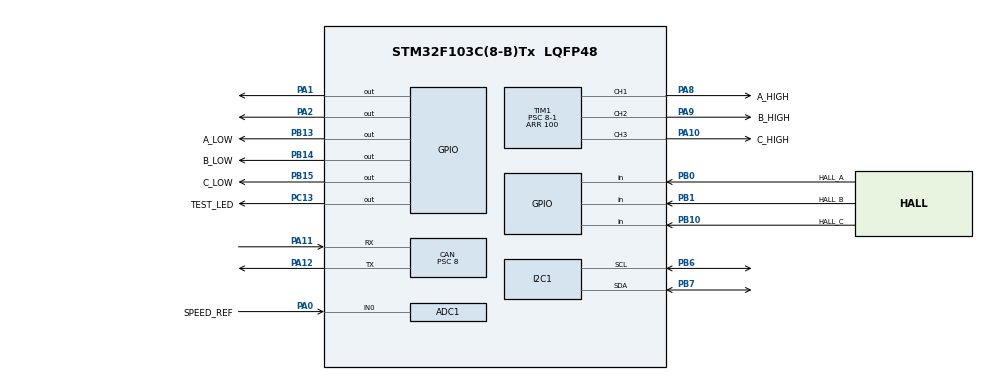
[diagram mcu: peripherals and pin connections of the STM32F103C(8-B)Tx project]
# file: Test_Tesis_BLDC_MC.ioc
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ADC1.Channel-0\#ChannelRegularConversion=ADC_CHANNEL_0
ADC1.NbrOfConversionFlag=1
ADC1.Rank-0\#ChannelRegularConversion=1
ADC1.SamplingTime-0\#ChannelRegularConversion=ADC_SAMPLETIME_1CYCLE_5
ADC1.master=1
CAN.BS2=CAN_BS2_2TQ
CAN.CalculateBaudRate=250000
CAN.CalculateTimeBit=4000
CAN.CalculateTimeQuantum=1000.0
CAN.Prescaler=8
Mcu.Family=STM32F1
Mcu.Name=STM32F103C(8-B)Tx
Mcu.Package=LQFP48
NVIC.CAN1_RX1_IRQn=true\:0\:0\:false\:false\:true\:true\:true\:true
NVIC.PriorityGroup=NVIC_PRIORITYGROUP_4
NVIC.TIM2_IRQn=true\:0\:0\:false\:false\:true\:true\:true\:true
NVIC.TIM4_IRQn=true\:0\:0\:false\:false\:true\:true\:true\:true
NVIC.USB_LP_CAN1_RX0_IRQn=true\:0\:0\:false\:false\:true\:true\:true\:true
PA0-WKUP.GPIO_Label=SPEED_REF
PA0-WKUP.Signal=ADCx_IN0
PA1.Signal=GPIO_Output
PA10.GPIO_Label=C_HIGH
PA10.Signal=S_TIM1_CH3
PA11.Mode=CAN_Activate
PA11.Signal=CAN_RX
PA12.Mode=CAN_Activate
PA12.Signal=CAN_TX
PA13.Mode=Serial_Wire
PA13.Signal=SYS_JTMS-SWDIO
PA14.Mode=Serial_Wire
PA14.Signal=SYS_JTCK-SWCLK
PA2.Signal=GPIO_Output
PA8.GPIO_Label=A_HIGH
PA8.GPIO_Speed=GPIO_SPEED_FREQ_HIGH
PA8.Signal=S_TIM1_CH1
PA9.GPIO_Label=B_HIGH
PA9.GPIO_Speed=GPIO_SPEED_FREQ_HIGH
PA9.Signal=S_TIM1_CH2
PB0.GPIO_Label=HALL_A
PB0.GPIO_PuPd=GPIO_PULLUP
PB0.Signal=GPIO_Input
PB1.GPIO_Label=HALL_B
PB1.GPIO_PuPd=GPIO_PULLUP
PB1.Signal=GPIO_Input
PB10.GPIO_Label=HALL_C
PB10.GPIO_PuPd=GPIO_PULLUP
PB10.Signal=GPIO_Input
PB13.GPIO_Label=A_LOW
PB13.GPIO_PuPd=GPIO_PULLDOWN
PB13.GPIO_Speed=GPIO_SPEED_FREQ_HIGH
PB13.Signal=GPIO_Output
PB14.GPIO_Label=B_LOW
PB14.GPIO_PuPd=GPIO_PULLDOWN
PB14.GPIO_Speed=GPIO_SPEED_FREQ_HIGH
PB14.Signal=GPIO_Output
PB15.GPIO_Label=C_LOW
PB15.GPIO_PuPd=GPIO_PULLDOWN
PB15.GPIO_Speed=GPIO_SPEED_FREQ_HIGH
PB15.Signal=GPIO_Output
PB6.Mode=I2C
PB6.Signal=I2C1_SCL
PB7.Mode=I2C
PB7.Signal=I2C1_SDA
PC13-TAMPER-RTC.GPIO_Label=TEST_LED
PC13-TAMPER-RTC.GPIO_PuPd=GPIO_PULLUP
PC13-TAMPER-RTC.Signal=GPIO_Output
ProjectManager.HeapSize=0x200
ProjectManager.StackSize=0x400
ProjectManager.TargetToolchain=STM32CubeIDE
RCC.APB1Freq_Value=8000000
RCC.APB2Freq_Value=8000000
SH.ADCx_IN0.0=ADC1_IN0,IN0
SH.S_TIM1_CH1.0=TIM1_CH1,PWM Generation1 CH1
SH.S_TIM1_CH2.0=TIM1_CH2,PWM Generation2 CH2
SH.S_TIM1_CH3.0=TIM1_CH3,PWM Generation3 CH3
TIM1.Channel-PWM\ Generation1\ CH1=TIM_CHANNEL_1
TIM1.Channel-PWM\ Generation2\ CH2=TIM_CHANNEL_2
TIM1.Channel-PWM\ Generation3\ CH3=TIM_CHANNEL_3
TIM1.Period=100
TIM1.Prescaler=8-1
TIM2.AutoReloadPreload=TIM_AUTORELOAD_PRELOAD_DISABLE
TIM2.Period=400-1
TIM2.Prescaler=8-1
TIM3.Prescaler=8-1
TIM4.Period=100-1
TIM4.Prescaler=8000-1
VP_TIM1_VS_ClockSourceINT.Mode=Internal
VP_TIM2_VS_ClockSourceINT.Mode=Internal
VP_TIM3_VS_ClockSourceINT.Mode=Internal
VP_TIM4_VS_ClockSourceINT.Mode=Internal
board=custom

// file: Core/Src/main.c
/* USER CODE BEGIN Header */
/**
  ******************************************************************************
  * @file           : main.c
  * @brief          : Main program body
  ******************************************************************************
  * @attention
  *
  * Copyright (c) 2023 STMicroelectronics.
  * All rights reserved.
  *
  * This software is licensed under terms that can be found in the LICENSE file
  * in the root directory of this software component.
  * If no LICENSE file comes with this software, it is provided AS-IS.
  *
  ******************************************************************************
  */
/* USER CODE END Header */
#include "main.h"

/* USER CODE BEGIN Includes */
#include "PID.h"
#include "STANLEY.h"
#include "IMU.h"
#include "stepper.h"

#include <stdlib.h>

/* USER CODE END Includes */

/* USER CODE BEGIN PD */

// Definiciones principales
#define POLE_PAIRS 23u
#define VOLTAJE 30u
#define STEP_ADC_RPM 10u
#define ESTIMATION_RATE 5u // solo puede ser divisor de 10 {1, 2, 5, 10}.

#define STEPS2RPM 60*ESTIMATION_RATE/POLE_PAIRS/6 // 60 segundos, 2 Hz, 23 pp, 6 pasos

#define TEST_STANLEY 1u

// Definiciones adicionales
#define COMMUTATION_DELAY_US 350u	// microsegundos para el delay

/* Controller parameters */
// Para ESTIMATION_RATE de 2u: kp = 0.2; ki = 0.8; kd=0.0 (delay 700u)
//						   5u: kp = 0.02; ki = 0.5; kd=0.0 (delay 700u)
#define PID_KP  0.03f //
#define PID_KI  0.35f // 0.15 0.01
#define PID_KD  0.0f //0.0

#define PID_TAU 0.02f

#define PID_LIM_MIN  0.0f
#define PID_LIM_MAX  100.0f

#define STANLEY_K 	3.5f
#define STANLEY_KS 	0.2f
#define SAMPLE_TIME_S 0.1f

// Definiciones adicionales
#define PI 3.141592653589f

/* USER CODE END PD */

ADC_HandleTypeDef hadc1;

CAN_HandleTypeDef hcan;

I2C_HandleTypeDef hi2c1;

TIM_HandleTypeDef htim1;
TIM_HandleTypeDef htim2;
TIM_HandleTypeDef htim3;
TIM_HandleTypeDef htim4;

void SystemClock_Config(void);
static void MX_GPIO_Init(void);
static void MX_ADC1_Init(void);
static void MX_TIM1_Init(void);
static void MX_TIM2_Init(void);
static void MX_TIM3_Init(void);
static void MX_TIM4_Init(void);
static void MX_CAN_Init(void);
static void MX_I2C1_Init(void);

/* USER CODE BEGIN 0 */
// HEADERS DE FUNCIONES

// funciones principales
void get_adc(void);
void read_hall(void);
void bldc_move(void);
void bldc_move_back(void);

//funciones adicionales
void delay_us (uint16_t us);

// VARIABLES
uint16_t raw_adc = 0;
uint16_t rate_adc = 0;

uint8_t hall_a = 0;
uint8_t hall_b = 0;
uint8_t hall_c = 0;

uint8_t direction = 0;		// 0 for forward, 1 for backward
uint8_t bldc_prev_step = 0;
uint8_t bldc_step = 0;
uint16_t steps = 0;

float desired_speed_rpm = 0;
float current_speed_rpm = 0;
float error = 0; //difference between desired and measured speed
float integral = 0;
uint8_t duty_cycle = 0;

// imu
uint8_t euler_readings[IMU_NUMBER_OF_BYTES];
int16_t euler_data[3];
float yaw = 0;

// Stanley
float posX = 0.0;
float posY = 0.0;
float ang_direc = 0.0;
float steer = 0.0;

float stepsPAP = 0.0;

// timer flags
uint8_t timer2_flag = 0;
uint8_t timer4_flag = 0;
uint8_t timer4_counts = 0;
uint8_t estimation_flag = 0;

//PID
PIDController pid = { PID_KP, PID_KI, PID_KD, PID_TAU,
						PID_LIM_MIN, PID_LIM_MAX, SAMPLE_TIME_S };

StanleyController stanley = {STANLEY_K, STANLEY_KS};

/* USER CODE END 0 */

int main(void)
{

  /* MCU Configuration--------------------------------------------------------*/

  /* Reset of all peripherals, Initializes the Flash interface and the Systick. */
  HAL_Init();

  /* Configure the system clock */
  SystemClock_Config();

  /* Initialize all configured peripherals */
  MX_GPIO_Init();
  MX_ADC1_Init();
  MX_TIM1_Init();
  MX_TIM2_Init();
  MX_TIM3_Init();
  MX_TIM4_Init();
  MX_CAN_Init();
  MX_I2C1_Init();
  /* USER CODE BEGIN 2 */

  // Inicializamos I2C imu
  BNO055_Init_I2C(&hi2c1);

  // Inicializamos lso controladores
  PIDController_Init(&pid);
  StanleyController_Init(&stanley);

  // Inicializamos los timer timers
  HAL_TIM_Base_Start(&htim1);	// Timer de PWMs (10kH)
  HAL_TIM_Base_Start_IT(&htim2);	// Timer principal (2.5 kHz)
  HAL_TIM_Base_Start(&htim3);		// Timer para delay de microsegundos
  HAL_TIM_Base_Start_IT(&htim4);	// Timer para el control (10Hz)

  // Inicializamos los 3 canales de PWM
  HAL_TIM_PWM_Start(&htim1, TIM_CHANNEL_1);
  HAL_TIM_PWM_Start(&htim1, TIM_CHANNEL_2);
  HAL_TIM_PWM_Start(&htim1, TIM_CHANNEL_3);

  // Iniciamos con 0 de duty los 3 PWM HIGH de loS MOSFETS
  __HAL_TIM_SET_COMPARE(&htim1, TIM_CHANNEL_1, 0);
  __HAL_TIM_SET_COMPARE(&htim1, TIM_CHANNEL_2, 0);
  __HAL_TIM_SET_COMPARE(&htim1, TIM_CHANNEL_3, 0);

  // Inicializamos en low las salidas LOW de los MOSFETS
  HAL_GPIO_WritePin(A_LOW_GPIO_Port , A_LOW_Pin,  GPIO_PIN_RESET);
  HAL_GPIO_WritePin(B_LOW_GPIO_Port , B_LOW_Pin,  GPIO_PIN_RESET);
  HAL_GPIO_WritePin(C_LOW_GPIO_Port , C_LOW_Pin,  GPIO_PIN_RESET);

  // Incializamos el led de testeo apagado
  HAL_GPIO_WritePin(GPIOC , GPIO_PIN_13,  GPIO_PIN_SET);

  // Leemos los hall por primera vez
  read_hall();

  /* USER CODE END 2 */

  /* Infinite loop */
  /* USER CODE BEGIN WHILE */
  while (1)
  {
	  if (timer2_flag == 1){
		  get_adc();
		  read_hall();

		  if (direction == 0) bldc_move();
		  else bldc_move_back();

		  timer2_flag = 0;
	  }

	  if (timer4_flag == 1){

		  // Acá se realiza el control PID y Stanley
		  // CONTROL PID
		  uint8_t u = 0;

		  PIDController_Update(&pid, desired_speed_rpm, current_speed_rpm);

		  // Protection
		  if(desired_speed_rpm<=20){
			  PIDController_Reset(&pid);
		  }

		  integral = pid.integrator;
		  u = pid.out;
		  duty_cycle = u;

		  //testeo
		  //HAL_GPIO_TogglePin(GPIOC , TEST_LED_Pin);

		  // CONTROL STANLEY
		  if(TEST_STANLEY==1){
			  // Leer yaw
			  GetEulerData(&hi2c1, (uint8_t*)euler_readings);
			  euler_data[0] = (((int16_t)((uint8_t *)(euler_readings))[1] << 8) | ((uint8_t *)(euler_readings))[0]);
			  yaw = ((float)(euler_data[0]))*PI/180.0/16.0 ; // rad

			  float *arr_currPos = malloc(sizeof(float) * 2);

			  // como se calcula el ang_direc? debería venir del PAP, es necesario?, ahora está seteado a 0
			  arr_currPos = calcular_posActual(posX, posY, current_speed_rpm, yaw, ang_direc, SAMPLE_TIME_S);

			  // Recibir por CAN
			  float arr_path[4]={0.0, 0.0, 0.0, 0.0}; // x0, y0, x1, y1. Se deberia recibir por CAN
			  // Recibir por CAN

			  steer = StanleyController_Update(&stanley, yaw, current_speed_rpm, arr_currPos, arr_path);

			  // Falta conversion de steer a stepsPAP

			  // actuar el pap
			  step(&htim3, stepsPAP, 0, 100); // 1600 steps = 1 rev con 100 us de Delay
		  }

		  timer4_flag = 0;
	  }

	  if (estimation_flag){
		  // HAL_GPIO_TogglePin(GPIOC , GPIO_PIN_13);
		  current_speed_rpm = steps*STEPS2RPM;
		  estimation_flag = 0;
		  steps = 0;
	  }
    /* USER CODE END WHILE */

  }
}

void SystemClock_Config(void)
{
  RCC_OscInitTypeDef RCC_OscInitStruct = {0};
  RCC_ClkInitTypeDef RCC_ClkInitStruct = {0};
  RCC_PeriphCLKInitTypeDef PeriphClkInit = {0};

  /** Initializes the RCC Oscillators according to the specified parameters
  * in the RCC_OscInitTypeDef structure.
  */
  RCC_OscInitStruct.OscillatorType = RCC_OSCILLATORTYPE_HSI;
  RCC_OscInitStruct.HSIState = RCC_HSI_ON;
  RCC_OscInitStruct.HSICalibrationValue = RCC_HSICALIBRATION_DEFAULT;
  RCC_OscInitStruct.PLL.PLLState = RCC_PLL_NONE;
  if (HAL_RCC_OscConfig(&RCC_OscInitStruct) != HAL_OK)
  {
    Error_Handler();
  }

  /** Initializes the CPU, AHB and APB buses clocks
  */
  RCC_ClkInitStruct.ClockType = RCC_CLOCKTYPE_HCLK|RCC_CLOCKTYPE_SYSCLK
                              |RCC_CLOCKTYPE_PCLK1|RCC_CLOCKTYPE_PCLK2;
  RCC_ClkInitStruct.SYSCLKSource = RCC_SYSCLKSOURCE_HSI;
  RCC_ClkInitStruct.AHBCLKDivider = RCC_SYSCLK_DIV1;
  RCC_ClkInitStruct.APB1CLKDivider = RCC_HCLK_DIV1;
  RCC_ClkInitStruct.APB2CLKDivider = RCC_HCLK_DIV1;

  if (HAL_RCC_ClockConfig(&RCC_ClkInitStruct, FLASH_LATENCY_0) != HAL_OK)
  {
    Error_Handler();
  }
  PeriphClkInit.PeriphClockSelection = RCC_PERIPHCLK_ADC;
  PeriphClkInit.AdcClockSelection = RCC_ADCPCLK2_DIV2;
  if (HAL_RCCEx_PeriphCLKConfig(&PeriphClkInit) != HAL_OK)
  {
    Error_Handler();
  }
}

static void MX_ADC1_Init(void)
{

  ADC_ChannelConfTypeDef sConfig = {0};

  /** Common config
  */
  hadc1.Instance = ADC1;
  hadc1.Init.ScanConvMode = ADC_SCAN_DISABLE;
  hadc1.Init.ContinuousConvMode = DISABLE;
  hadc1.Init.DiscontinuousConvMode = DISABLE;
  hadc1.Init.ExternalTrigConv = ADC_SOFTWARE_START;
  hadc1.Init.DataAlign = ADC_DATAALIGN_RIGHT;
  hadc1.Init.NbrOfConversion = 1;
  if (HAL_ADC_Init(&hadc1) != HAL_OK)
  {
    Error_Handler();
  }

  /** Configure Regular Channel
  */
  sConfig.Channel = ADC_CHANNEL_0;
  sConfig.Rank = ADC_REGULAR_RANK_1;
  sConfig.SamplingTime = ADC_SAMPLETIME_1CYCLE_5;
  if (HAL_ADC_ConfigChannel(&hadc1, &sConfig) != HAL_OK)
  {
    Error_Handler();
  }

}

static void MX_CAN_Init(void)
{

  hcan.Instance = CAN1;
  hcan.Init.Prescaler = 8;
  hcan.Init.Mode = CAN_MODE_NORMAL;
  hcan.Init.SyncJumpWidth = CAN_SJW_1TQ;
  hcan.Init.TimeSeg1 = CAN_BS1_1TQ;
  hcan.Init.TimeSeg2 = CAN_BS2_2TQ;
  hcan.Init.TimeTriggeredMode = DISABLE;
  hcan.Init.AutoBusOff = DISABLE;
  hcan.Init.AutoWakeUp = DISABLE;
  hcan.Init.AutoRetransmission = DISABLE;
  hcan.Init.ReceiveFifoLocked = DISABLE;
  hcan.Init.TransmitFifoPriority = DISABLE;
  if (HAL_CAN_Init(&hcan) != HAL_OK)
  {
    Error_Handler();
  }

}

static void MX_I2C1_Init(void)
{

  hi2c1.Instance = I2C1;
  hi2c1.Init.ClockSpeed = 100000;
  hi2c1.Init.DutyCycle = I2C_DUTYCYCLE_2;
  hi2c1.Init.OwnAddress1 = 0;
  hi2c1.Init.AddressingMode = I2C_ADDRESSINGMODE_7BIT;
  hi2c1.Init.DualAddressMode = I2C_DUALADDRESS_DISABLE;
  hi2c1.Init.OwnAddress2 = 0;
  hi2c1.Init.GeneralCallMode = I2C_GENERALCALL_DISABLE;
  hi2c1.Init.NoStretchMode = I2C_NOSTRETCH_DISABLE;
  if (HAL_I2C_Init(&hi2c1) != HAL_OK)
  {
    Error_Handler();
  }

}

static void MX_TIM1_Init(void)
{

  TIM_ClockConfigTypeDef sClockSourceConfig = {0};
  TIM_MasterConfigTypeDef sMasterConfig = {0};
  TIM_OC_InitTypeDef sConfigOC = {0};
  TIM_BreakDeadTimeConfigTypeDef sBreakDeadTimeConfig = {0};

  htim1.Instance = TIM1;
  htim1.Init.Prescaler = 8-1;
  htim1.Init.CounterMode = TIM_COUNTERMODE_UP;
  htim1.Init.Period = 100;
  htim1.Init.ClockDivision = TIM_CLOCKDIVISION_DIV1;
  htim1.Init.RepetitionCounter = 0;
  htim1.Init.AutoReloadPreload = TIM_AUTORELOAD_PRELOAD_DISABLE;
  if (HAL_TIM_Base_Init(&htim1) != HAL_OK)
  {
    Error_Handler();
  }
  sClockSourceConfig.ClockSource = TIM_CLOCKSOURCE_INTERNAL;
  if (HAL_TIM_ConfigClockSource(&htim1, &sClockSourceConfig) != HAL_OK)
  {
    Error_Handler();
  }
  if (HAL_TIM_PWM_Init(&htim1) != HAL_OK)
  {
    Error_Handler();
  }
  sMasterConfig.MasterOutputTrigger = TIM_TRGO_RESET;
  sMasterConfig.MasterSlaveMode = TIM_MASTERSLAVEMODE_DISABLE;
  if (HAL_TIMEx_MasterConfigSynchronization(&htim1, &sMasterConfig) != HAL_OK)
  {
    Error_Handler();
  }
  sConfigOC.OCMode = TIM_OCMODE_PWM1;
  sConfigOC.Pulse = 0;
  sConfigOC.OCPolarity = TIM_OCPOLARITY_HIGH;
  sConfigOC.OCNPolarity = TIM_OCNPOLARITY_HIGH;
  sConfigOC.OCFastMode = TIM_OCFAST_DISABLE;
  sConfigOC.OCIdleState = TIM_OCIDLESTATE_RESET;
  sConfigOC.OCNIdleState = TIM_OCNIDLESTATE_RESET;
  if (HAL_TIM_PWM_ConfigChannel(&htim1, &sConfigOC, TIM_CHANNEL_1) != HAL_OK)
  {
    Error_Handler();
  }
  if (HAL_TIM_PWM_ConfigChannel(&htim1, &sConfigOC, TIM_CHANNEL_2) != HAL_OK)
  {
    Error_Handler();
  }
  if (HAL_TIM_PWM_ConfigChannel(&htim1, &sConfigOC, TIM_CHANNEL_3) != HAL_OK)
  {
    Error_Handler();
  }
  sBreakDeadTimeConfig.OffStateRunMode = TIM_OSSR_DISABLE;
  sBreakDeadTimeConfig.OffStateIDLEMode = TIM_OSSI_DISABLE;
  sBreakDeadTimeConfig.LockLevel = TIM_LOCKLEVEL_OFF;
  sBreakDeadTimeConfig.DeadTime = 0;
  sBreakDeadTimeConfig.BreakState = TIM_BREAK_DISABLE;
  sBreakDeadTimeConfig.BreakPolarity = TIM_BREAKPOLARITY_HIGH;
  sBreakDeadTimeConfig.AutomaticOutput = TIM_AUTOMATICOUTPUT_DISABLE;
  if (HAL_TIMEx_ConfigBreakDeadTime(&htim1, &sBreakDeadTimeConfig) != HAL_OK)
  {
    Error_Handler();
  }
  HAL_TIM_MspPostInit(&htim1);

}

static void MX_TIM2_Init(void)
{

  TIM_ClockConfigTypeDef sClockSourceConfig = {0};
  TIM_MasterConfigTypeDef sMasterConfig = {0};

  htim2.Instance = TIM2;
  htim2.Init.Prescaler = 8-1;
  htim2.Init.CounterMode = TIM_COUNTERMODE_UP;
  htim2.Init.Period = 400-1;
  htim2.Init.ClockDivision = TIM_CLOCKDIVISION_DIV1;
  htim2.Init.AutoReloadPreload = TIM_AUTORELOAD_PRELOAD_DISABLE;
  if (HAL_TIM_Base_Init(&htim2) != HAL_OK)
  {
    Error_Handler();
  }
  sClockSourceConfig.ClockSource = TIM_CLOCKSOURCE_INTERNAL;
  if (HAL_TIM_ConfigClockSource(&htim2, &sClockSourceConfig) != HAL_OK)
  {
    Error_Handler();
  }
  sMasterConfig.MasterOutputTrigger = TIM_TRGO_RESET;
  sMasterConfig.MasterSlaveMode = TIM_MASTERSLAVEMODE_DISABLE;
  if (HAL_TIMEx_MasterConfigSynchronization(&htim2, &sMasterConfig) != HAL_OK)
  {
    Error_Handler();
  }

}

static void MX_TIM3_Init(void)
{

  TIM_ClockConfigTypeDef sClockSourceConfig = {0};
  TIM_MasterConfigTypeDef sMasterConfig = {0};

  htim3.Instance = TIM3;
  htim3.Init.Prescaler = 8-1;
  htim3.Init.CounterMode = TIM_COUNTERMODE_UP;
  htim3.Init.Period = 65535;
  htim3.Init.ClockDivision = TIM_CLOCKDIVISION_DIV1;
  htim3.Init.AutoReloadPreload = TIM_AUTORELOAD_PRELOAD_DISABLE;
  if (HAL_TIM_Base_Init(&htim3) != HAL_OK)
  {
    Error_Handler();
  }
  sClockSourceConfig.ClockSource = TIM_CLOCKSOURCE_INTERNAL;
  if (HAL_TIM_ConfigClockSource(&htim3, &sClockSourceConfig) != HAL_OK)
  {
    Error_Handler();
  }
  sMasterConfig.MasterOutputTrigger = TIM_TRGO_RESET;
  sMasterConfig.MasterSlaveMode = TIM_MASTERSLAVEMODE_DISABLE;
  if (HAL_TIMEx_MasterConfigSynchronization(&htim3, &sMasterConfig) != HAL_OK)
  {
    Error_Handler();
  }

}

static void MX_TIM4_Init(void)
{

  TIM_ClockConfigTypeDef sClockSourceConfig = {0};
  TIM_MasterConfigTypeDef sMasterConfig = {0};

  htim4.Instance = TIM4;
  htim4.Init.Prescaler = 8000-1;
  htim4.Init.CounterMode = TIM_COUNTERMODE_UP;
  htim4.Init.Period = 100-1;
  htim4.Init.ClockDivision = TIM_CLOCKDIVISION_DIV1;
  htim4.Init.AutoReloadPreload = TIM_AUTORELOAD_PRELOAD_DISABLE;
  if (HAL_TIM_Base_Init(&htim4) != HAL_OK)
  {
    Error_Handler();
  }
  sClockSourceConfig.ClockSource = TIM_CLOCKSOURCE_INTERNAL;
  if (HAL_TIM_ConfigClockSource(&htim4, &sClockSourceConfig) != HAL_OK)
  {
    Error_Handler();
  }
  sMasterConfig.MasterOutputTrigger = TIM_TRGO_RESET;
  sMasterConfig.MasterSlaveMode = TIM_MASTERSLAVEMODE_DISABLE;
  if (HAL_TIMEx_MasterConfigSynchronization(&htim4, &sMasterConfig) != HAL_OK)
  {
    Error_Handler();
  }

}

static void MX_GPIO_Init(void)
{
  GPIO_InitTypeDef GPIO_InitStruct = {0};

  /* GPIO Ports Clock Enable */
  __HAL_RCC_GPIOC_CLK_ENABLE();
  __HAL_RCC_GPIOA_CLK_ENABLE();
  __HAL_RCC_GPIOB_CLK_ENABLE();

  /*Configure GPIO pin Output Level */
  HAL_GPIO_WritePin(TEST_LED_GPIO_Port, TEST_LED_Pin, GPIO_PIN_RESET);

  /*Configure GPIO pin Output Level */
  HAL_GPIO_WritePin(GPIOA, GPIO_PIN_1|GPIO_PIN_2, GPIO_PIN_RESET);

  /*Configure GPIO pin Output Level */
  HAL_GPIO_WritePin(GPIOB, A_LOW_Pin|B_LOW_Pin|C_LOW_Pin, GPIO_PIN_RESET);

  /*Configure GPIO pin : TEST_LED_Pin */
  GPIO_InitStruct.Pin = TEST_LED_Pin;
  GPIO_InitStruct.Mode = GPIO_MODE_OUTPUT_PP;
  GPIO_InitStruct.Pull = GPIO_PULLUP;
  GPIO_InitStruct.Speed = GPIO_SPEED_FREQ_LOW;
  HAL_GPIO_Init(TEST_LED_GPIO_Port, &GPIO_InitStruct);

  /*Configure GPIO pins : PA1 PA2 */
  GPIO_InitStruct.Pin = GPIO_PIN_1|GPIO_PIN_2;
  GPIO_InitStruct.Mode = GPIO_MODE_OUTPUT_PP;
  GPIO_InitStruct.Pull = GPIO_NOPULL;
  GPIO_InitStruct.Speed = GPIO_SPEED_FREQ_LOW;
  HAL_GPIO_Init(GPIOA, &GPIO_InitStruct);

  /*Configure GPIO pins : HALL_A_Pin HALL_B_Pin HALL_C_Pin */
  GPIO_InitStruct.Pin = HALL_A_Pin|HALL_B_Pin|HALL_C_Pin;
  GPIO_InitStruct.Mode = GPIO_MODE_INPUT;
  GPIO_InitStruct.Pull = GPIO_PULLUP;
  HAL_GPIO_Init(GPIOB, &GPIO_InitStruct);

  /*Configure GPIO pins : A_LOW_Pin B_LOW_Pin C_LOW_Pin */
  GPIO_InitStruct.Pin = A_LOW_Pin|B_LOW_Pin|C_LOW_Pin;
  GPIO_InitStruct.Mode = GPIO_MODE_OUTPUT_PP;
  GPIO_InitStruct.Pull = GPIO_PULLDOWN;
  GPIO_InitStruct.Speed = GPIO_SPEED_FREQ_HIGH;
  HAL_GPIO_Init(GPIOB, &GPIO_InitStruct);

}

/* USER CODE BEGIN 4 */
//FUNCIONES

void get_adc(void){
	// Obtenemos la data del ADC
	HAL_ADC_Start(&hadc1);
	HAL_ADC_PollForConversion(&hadc1, HAL_MAX_DELAY);

	raw_adc = HAL_ADC_GetValue(&hadc1);

//	duty_cycle = raw_adc/41;	// Obtiene el valor de entre 0 a 100 para el duty
//
//	// Para que el sistema se suelte cuando el deseado sea menos del 10%
//	if (duty_cycle<10){
//		duty_cycle = 0;
//	}

	rate_adc = STEP_ADC_RPM*48*12/VOLTAJE;
	raw_adc = rate_adc*(raw_adc/rate_adc);
	desired_speed_rpm = raw_adc*STEP_ADC_RPM/rate_adc;
}

void read_hall(void){
	hall_a = HAL_GPIO_ReadPin(HALL_A_GPIO_Port,HALL_A_Pin);
	hall_b = HAL_GPIO_ReadPin(HALL_B_GPIO_Port,HALL_B_Pin);
	hall_c = HAL_GPIO_ReadPin(HALL_C_GPIO_Port,HALL_C_Pin);

	// testing for one value
	//	bldc_step = 3;
	// end testing

	// testing for continous changes
//	if (bldc_step > 6){
//		bldc_step = 1;
//	}
//	else {
//		bldc_step++;
//	}
	// end testing

	// Descomentar luego del testeo
	bldc_step = hall_a + 2*hall_b + 4*hall_c;

	// Para calcular velocidad
	if (bldc_step != bldc_prev_step){
		steps += 1;
	}

	bldc_prev_step	= bldc_step;

}

void bldc_move(void){

	switch(bldc_step){
	case 1:
		__HAL_TIM_SET_COMPARE(&htim1, TIM_CHANNEL_2, 0);	//B_HIGH
		__HAL_TIM_SET_COMPARE(&htim1, TIM_CHANNEL_3, 0);	//C_HIGH
		HAL_GPIO_WritePin(A_LOW_GPIO_Port , A_LOW_Pin,  GPIO_PIN_RESET);
		HAL_GPIO_WritePin(B_LOW_GPIO_Port , B_LOW_Pin,  GPIO_PIN_RESET);

		// Delay
		delay_us(COMMUTATION_DELAY_US);

		__HAL_TIM_SET_COMPARE(&htim1, TIM_CHANNEL_1, duty_cycle);	//A_HIGH
		HAL_GPIO_WritePin(C_LOW_GPIO_Port , C_LOW_Pin,  GPIO_PIN_SET);
		break;
	case 2:
		__HAL_TIM_SET_COMPARE(&htim1, TIM_CHANNEL_1, 0);	//A_HIGH
		__HAL_TIM_SET_COMPARE(&htim1, TIM_CHANNEL_3, 0);	//C_HIGH
		HAL_GPIO_WritePin(B_LOW_GPIO_Port , B_LOW_Pin,  GPIO_PIN_RESET);
		HAL_GPIO_WritePin(C_LOW_GPIO_Port , C_LOW_Pin,  GPIO_PIN_RESET);

		// Delay
		delay_us(COMMUTATION_DELAY_US);

		__HAL_TIM_SET_COMPARE(&htim1, TIM_CHANNEL_2, duty_cycle);	//B_HIGH
		HAL_GPIO_WritePin(A_LOW_GPIO_Port , A_LOW_Pin,  GPIO_PIN_SET);

		break;
	case 3:
		__HAL_TIM_SET_COMPARE(&htim1, TIM_CHANNEL_1, 0);	//A_HIGH

		__HAL_TIM_SET_COMPARE(&htim1, TIM_CHANNEL_3, 0);	//C_HIGH

		HAL_GPIO_WritePin(A_LOW_GPIO_Port , A_LOW_Pin,  GPIO_PIN_RESET);
		HAL_GPIO_WritePin(B_LOW_GPIO_Port , B_LOW_Pin,  GPIO_PIN_RESET);

		// Delay
		delay_us(COMMUTATION_DELAY_US);

		__HAL_TIM_SET_COMPARE(&htim1, TIM_CHANNEL_2, duty_cycle);	//B_HIGH
		HAL_GPIO_WritePin(C_LOW_GPIO_Port , C_LOW_Pin,  GPIO_PIN_SET);

		break;
	case 4:
		__HAL_TIM_SET_COMPARE(&htim1, TIM_CHANNEL_1, 0);	//A_HIGH
		__HAL_TIM_SET_COMPARE(&htim1, TIM_CHANNEL_2, 0);	//B_HIGH
		HAL_GPIO_WritePin(A_LOW_GPIO_Port , A_LOW_Pin,  GPIO_PIN_RESET);
		HAL_GPIO_WritePin(C_LOW_GPIO_Port , C_LOW_Pin,  GPIO_PIN_RESET);

		// Delay
		delay_us(COMMUTATION_DELAY_US);

		__HAL_TIM_SET_COMPARE(&htim1, TIM_CHANNEL_3, duty_cycle);	//C_HIGH
		HAL_GPIO_WritePin(B_LOW_GPIO_Port , B_LOW_Pin,  GPIO_PIN_SET);

		break;

	case 5:

		__HAL_TIM_SET_COMPARE(&htim1, TIM_CHANNEL_2, 0);	//B_HIGH
		__HAL_TIM_SET_COMPARE(&htim1, TIM_CHANNEL_3, 0);	//C_HIGH

		HAL_GPIO_WritePin(A_LOW_GPIO_Port , A_LOW_Pin,  GPIO_PIN_RESET);

		HAL_GPIO_WritePin(C_LOW_GPIO_Port , C_LOW_Pin,  GPIO_PIN_RESET);

		// Delay
		delay_us(COMMUTATION_DELAY_US);

		__HAL_TIM_SET_COMPARE(&htim1, TIM_CHANNEL_1, duty_cycle);	//A_HIGH
		HAL_GPIO_WritePin(B_LOW_GPIO_Port , B_LOW_Pin,  GPIO_PIN_SET);
		break;

	case 6:
		__HAL_TIM_SET_COMPARE(&htim1, TIM_CHANNEL_1, 0);	//A_HIGH
		__HAL_TIM_SET_COMPARE(&htim1, TIM_CHANNEL_2, 0);	//B_HIGH

		HAL_GPIO_WritePin(B_LOW_GPIO_Port , B_LOW_Pin,  GPIO_PIN_RESET);
		HAL_GPIO_WritePin(C_LOW_GPIO_Port , C_LOW_Pin,  GPIO_PIN_RESET);

		// Delay
		delay_us(COMMUTATION_DELAY_US);

		__HAL_TIM_SET_COMPARE(&htim1, TIM_CHANNEL_3, duty_cycle);	//C_HIGH
		HAL_GPIO_WritePin(A_LOW_GPIO_Port , A_LOW_Pin,  GPIO_PIN_SET);

		break;

	default:
		__HAL_TIM_SET_COMPARE(&htim1, TIM_CHANNEL_1, 0);	//A_HIGH
		__HAL_TIM_SET_COMPARE(&htim1, TIM_CHANNEL_2, 0);	//B_HIGH
		__HAL_TIM_SET_COMPARE(&htim1, TIM_CHANNEL_3, 0);	//C_HIGH

		HAL_GPIO_WritePin(A_LOW_GPIO_Port , A_LOW_Pin,  GPIO_PIN_RESET);
		HAL_GPIO_WritePin(B_LOW_GPIO_Port , B_LOW_Pin,  GPIO_PIN_RESET);
		HAL_GPIO_WritePin(C_LOW_GPIO_Port , C_LOW_Pin,  GPIO_PIN_RESET);
		break;
	}
}

void bldc_move_back(void){

	switch(bldc_step){
	case 6:
		__HAL_TIM_SET_COMPARE(&htim1, TIM_CHANNEL_2, 0);	//B_HIGH
		__HAL_TIM_SET_COMPARE(&htim1, TIM_CHANNEL_3, 0);	//C_HIGH
		HAL_GPIO_WritePin(A_LOW_GPIO_Port , A_LOW_Pin,  GPIO_PIN_RESET);
		HAL_GPIO_WritePin(B_LOW_GPIO_Port , B_LOW_Pin,  GPIO_PIN_RESET);

		// Delay
		delay_us(COMMUTATION_DELAY_US);

		__HAL_TIM_SET_COMPARE(&htim1, TIM_CHANNEL_1, duty_cycle);	//A_HIGH
		HAL_GPIO_WritePin(C_LOW_GPIO_Port , C_LOW_Pin,  GPIO_PIN_SET);
		break;
	case 5:
		__HAL_TIM_SET_COMPARE(&htim1, TIM_CHANNEL_1, 0);	//A_HIGH
		__HAL_TIM_SET_COMPARE(&htim1, TIM_CHANNEL_3, 0);	//C_HIGH
		HAL_GPIO_WritePin(B_LOW_GPIO_Port , B_LOW_Pin,  GPIO_PIN_RESET);
		HAL_GPIO_WritePin(C_LOW_GPIO_Port , C_LOW_Pin,  GPIO_PIN_RESET);

		// Delay
		delay_us(COMMUTATION_DELAY_US);

		__HAL_TIM_SET_COMPARE(&htim1, TIM_CHANNEL_2, duty_cycle);	//B_HIGH
		HAL_GPIO_WritePin(A_LOW_GPIO_Port , A_LOW_Pin,  GPIO_PIN_SET);

		break;
	case 4:
		__HAL_TIM_SET_COMPARE(&htim1, TIM_CHANNEL_1, 0);	//A_HIGH

		__HAL_TIM_SET_COMPARE(&htim1, TIM_CHANNEL_3, 0);	//C_HIGH

		HAL_GPIO_WritePin(A_LOW_GPIO_Port , A_LOW_Pin,  GPIO_PIN_RESET);
		HAL_GPIO_WritePin(B_LOW_GPIO_Port , B_LOW_Pin,  GPIO_PIN_RESET);

		// Delay
		delay_us(COMMUTATION_DELAY_US);

		__HAL_TIM_SET_COMPARE(&htim1, TIM_CHANNEL_2, duty_cycle);	//B_HIGH
		HAL_GPIO_WritePin(C_LOW_GPIO_Port , C_LOW_Pin,  GPIO_PIN_SET);

		break;
	case 3:
		__HAL_TIM_SET_COMPARE(&htim1, TIM_CHANNEL_1, 0);	//A_HIGH
		__HAL_TIM_SET_COMPARE(&htim1, TIM_CHANNEL_2, 0);	//B_HIGH
		HAL_GPIO_WritePin(A_LOW_GPIO_Port , A_LOW_Pin,  GPIO_PIN_RESET);
		HAL_GPIO_WritePin(C_LOW_GPIO_Port , C_LOW_Pin,  GPIO_PIN_RESET);

		// Delay
		delay_us(COMMUTATION_DELAY_US);

		__HAL_TIM_SET_COMPARE(&htim1, TIM_CHANNEL_3, duty_cycle);	//C_HIGH
		HAL_GPIO_WritePin(B_LOW_GPIO_Port , B_LOW_Pin,  GPIO_PIN_SET);

		break;

	case 2:

		__HAL_TIM_SET_COMPARE(&htim1, TIM_CHANNEL_2, 0);	//B_HIGH
		__HAL_TIM_SET_COMPARE(&htim1, TIM_CHANNEL_3, 0);	//C_HIGH

		HAL_GPIO_WritePin(A_LOW_GPIO_Port , A_LOW_Pin,  GPIO_PIN_RESET);

		HAL_GPIO_WritePin(C_LOW_GPIO_Port , C_LOW_Pin,  GPIO_PIN_RESET);

		// Delay
		delay_us(COMMUTATION_DELAY_US);

		__HAL_TIM_SET_COMPARE(&htim1, TIM_CHANNEL_1, duty_cycle);	//A_HIGH
		HAL_GPIO_WritePin(B_LOW_GPIO_Port , B_LOW_Pin,  GPIO_PIN_SET);
		break;

	case 1:
		__HAL_TIM_SET_COMPARE(&htim1, TIM_CHANNEL_1, 0);	//A_HIGH
		__HAL_TIM_SET_COMPARE(&htim1, TIM_CHANNEL_2, 0);	//B_HIGH

		HAL_GPIO_WritePin(B_LOW_GPIO_Port , B_LOW_Pin,  GPIO_PIN_RESET);
		HAL_GPIO_WritePin(C_LOW_GPIO_Port , C_LOW_Pin,  GPIO_PIN_RESET);

		// Delay
		delay_us(COMMUTATION_DELAY_US);

		__HAL_TIM_SET_COMPARE(&htim1, TIM_CHANNEL_3, duty_cycle);	//C_HIGH
		HAL_GPIO_WritePin(A_LOW_GPIO_Port , A_LOW_Pin,  GPIO_PIN_SET);

		break;

	default:
		__HAL_TIM_SET_COMPARE(&htim1, TIM_CHANNEL_1, 0);	//A_HIGH
		__HAL_TIM_SET_COMPARE(&htim1, TIM_CHANNEL_2, 0);	//B_HIGH
		__HAL_TIM_SET_COMPARE(&htim1, TIM_CHANNEL_3, 0);	//C_HIGH

		HAL_GPIO_WritePin(A_LOW_GPIO_Port , A_LOW_Pin,  GPIO_PIN_RESET);
		HAL_GPIO_WritePin(B_LOW_GPIO_Port , B_LOW_Pin,  GPIO_PIN_RESET);
		HAL_GPIO_WritePin(C_LOW_GPIO_Port , C_LOW_Pin,  GPIO_PIN_RESET);
		break;
	}
}

void delay_us(uint16_t us){
	__HAL_TIM_SET_COUNTER(&htim3,0);  // set the counter value a 0
	while (__HAL_TIM_GET_COUNTER(&htim3) < us);  // wait for the counter to reach the us input in the parameter
}
//INTERRUPCIONES

void HAL_TIM_PeriodElapsedCallback(TIM_HandleTypeDef *htim){

	if (htim == &htim2){

		timer2_flag = 1;

	}
	if (htim == &htim4){

		timer4_flag = 1;

		if (timer4_counts == 10/ESTIMATION_RATE){
			estimation_flag = 1;

			timer4_counts = 0;
		}
		timer4_counts += 1;
	}
}
/* USER CODE END 4 */

void Error_Handler(void)
{
  __disable_irq();
  while (1)
  {
  }
}
